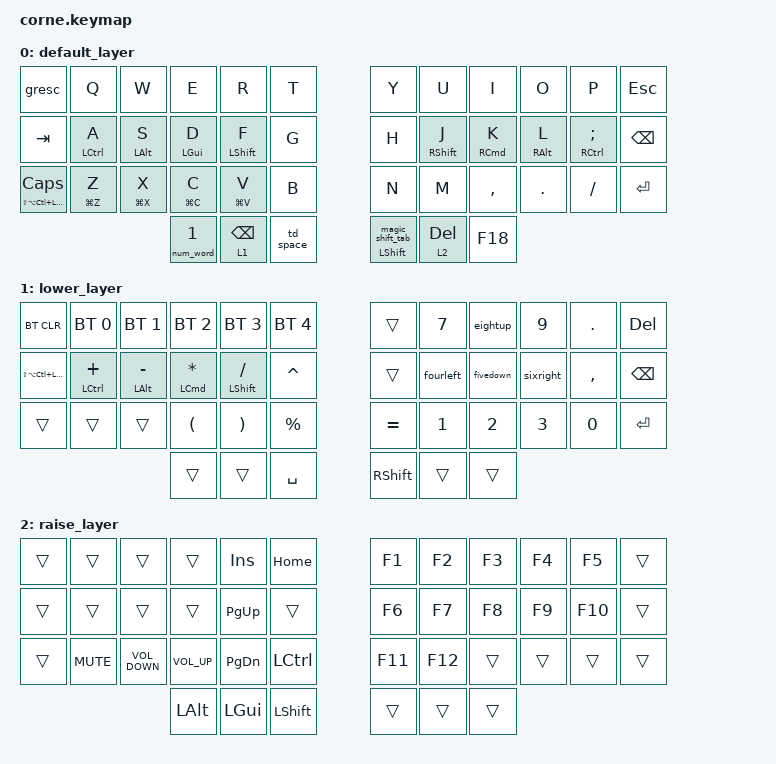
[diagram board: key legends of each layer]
/*
 * Copyright (c) 2020 The ZMK Contributors
 *
 * SPDX-License-Identifier: MIT
 */

#include <behaviors/num_word.dtsi>
#include <behaviors.dtsi>
#include <dt-bindings/zmk/bt.h>
#include <dt-bindings/zmk/keys.h>
#include "zmk-helpers/key-labels/42.h"

#define KEYS_L LT0 LT1 LT2 LT3 LT4 LT5 LM0 LM1 LM2 LM3 LM4 LM5 LB0 LB1 LB2 LB3 LB4 LB5 // Left-hand keys.
#define KEYS_R RT0 RT1 RT2 RT3 RT4 RT5 RM0 RM1 RM2 RM3 RM4 RM5 RB0 RB1 RB2 RB3 RB4 RB5 // Right-hand keys.
#define THUMBS LH2 LH1 LH0 RH0 RH1 RH2                                                 // Thumb keys.

/ {
    combos {
        compatible = "zmk,combos";

        exclam {
            bindings = <&kp EXCL>;
            key-positions = <13 1>;
            timeout-ms = <18>;
            layers = <0>;
            require-prior-idle-ms = <150>;
        };

        at {
            bindings = <&kp AT_SIGN>;
            key-positions = <14 2>;
            timeout-ms = <18>;
            layers = <0>;
            require-prior-idle-ms = <150>;
        };

        hash {
            bindings = <&kp HASH>;
            key-positions = <15 3>;
            timeout-ms = <18>;
            layers = <0>;
            require-prior-idle-ms = <150>;
        };

        dllr {
            bindings = <&kp DOLLAR>;
            key-positions = <4 16>;
            timeout-ms = <18>;
            layers = <0>;
            require-prior-idle-ms = <150>;
        };

        prcnt {
            bindings = <&kp PERCENT>;
            key-positions = <5 17>;
            timeout-ms = <18>;
            layers = <0>;
            require-prior-idle-ms = <150>;
        };

        caret {
            bindings = <&kp CARET>;
            key-positions = <18 6>;
            timeout-ms = <30>;
            layers = <0>;
            require-prior-idle-ms = <50>;
        };

        amps {
            bindings = <&kp AMPS>;
            key-positions = <7 19>;
            timeout-ms = <30>;
            layers = <0>;
            require-prior-idle-ms = <50>;
        };

        star {
            bindings = <&kp STAR>;
            key-positions = <8 20>;
            timeout-ms = <30>;
            layers = <0>;
            require-prior-idle-ms = <50>;
        };

        plus {
            bindings = <&kp PLUS>;
            key-positions = <9 21>;
            timeout-ms = <30>;
            layers = <0>;
            require-prior-idle-ms = <50>;
        };

        equal {
            bindings = <&kp EQUAL>;
            key-positions = <22 10>;
            timeout-ms = <30>;
            layers = <0>;
            require-prior-idle-ms = <50>;
        };

        minus {
            bindings = <&kp MINUS>;
            key-positions = <21 33>;
            timeout-ms = <30>;
            layers = <0>;
            require-prior-idle-ms = <50>;
        };

        slash {
            bindings = <&kp SLASH>;
            key-positions = <20 32>;
            timeout-ms = <30>;
            layers = <0>;
            require-prior-idle-ms = <50>;
        };

        pipe {
            bindings = <&kp PIPE>;
            key-positions = <19 31>;
            timeout-ms = <30>;
            layers = <0>;
            require-prior-idle-ms = <50>;
        };

        udscr {
            bindings = <&kp UNDERSCORE>;
            key-positions = <18 30>;
            timeout-ms = <30>;
            layers = <0>;
            require-prior-idle-ms = <50>;
        };

        tilde {
            bindings = <&kp TILDE>;
            key-positions = <17 29>;
            timeout-ms = <18>;
            layers = <0>;
            require-prior-idle-ms = <150>;
        };

        grave {
            bindings = <&kp GRAVE>;
            key-positions = <16 28>;
            timeout-ms = <18>;
            layers = <0>;
            require-prior-idle-ms = <150>;
        };

        bslh {
            bindings = <&kp BSLH>;
            key-positions = <15 27>;
            timeout-ms = <18>;
            layers = <0>;
            require-prior-idle-ms = <150>;
        };

        apos {
            bindings = <&kp APOS>;
            key-positions = <13 25>;
            timeout-ms = <18>;
            layers = <0>;
            require-prior-idle-ms = <150>;
        };

        quote {
            bindings = <&kp DQT>;
            key-positions = <14 26>;
            timeout-ms = <18>;
            layers = <0>;
            require-prior-idle-ms = <150>;
        };

        lbrace {
            bindings = <&kp LEFT_BRACE>;
            key-positions = <13 14>;
            timeout-ms = <18>;
            layers = <0>;
            require-prior-idle-ms = <150>;
        };

        rbrace {
            bindings = <&kp RIGHT_BRACE>;
            key-positions = <14 15>;
            timeout-ms = <18>;
            layers = <0>;
            require-prior-idle-ms = <150>;
        };

        lbrket {
            bindings = <&kp LEFT_BRACKET>;
            key-positions = <15 16>;
            timeout-ms = <18>;
            layers = <0>;
            require-prior-idle-ms = <150>;
        };

        rbrket {
            bindings = <&kp RIGHT_BRACKET>;
            key-positions = <16 17>;
            timeout-ms = <18>;
            layers = <0>;
            require-prior-idle-ms = <150>;
        };

        lpar {
            bindings = <&kp LEFT_PARENTHESIS>;
            key-positions = <18 19>;
            timeout-ms = <30>;
            layers = <0>;
            require-prior-idle-ms = <50>;
        };

        rpar {
            bindings = <&kp RIGHT_PARENTHESIS>;
            key-positions = <19 20>;
            timeout-ms = <30>;
            layers = <0>;
            require-prior-idle-ms = <50>;
        };

        nm_Return {
            bindings = <&kp ENTER>;
            key-positions = <30 31>;
        };

        vb_Return {
            bindings = <&kp ENTER>;
            key-positions = <28 29>;
        };
    };

    macros {
        period_space_shift: period_space_shift {
            compatible = "zmk,behavior-macro";
            label = "period space + sticky shift";
            bindings = <&kp DOT &kp SPACE &sticky_shift LSHFT>;
            #binding-cells = <0>;
        };
    };

    keymap {
        compatible = "zmk,keymap";

        default_layer {
            // -----------------------------------------------------------------------------------------
            // |  TAB |  Q  |  W  |  E  |  R  |  T  |   |  Y  |  U   |  I  |  O  |  P  | BKSP |
            // | CTRL |  A  |  S  |  D  |  F  |  G  |   |  H  |  J   |  K  |  L  |  ;  |  '   |
            // | SHFT |  Z  |  X  |  C  |  V  |  B  |   |  N  |  M   |  ,  |  .  |  /  | ESC  |
            //                    | GUI | LWR | SPC |   | ENT | RSE  | ALT |

            bindings = <
&gresc                     &kp Q               &kp W               &kp E               &kp R               &kp T        &kp Y                 &kp U              &kp I        &kp O        &kp P            &kp ESC
&kp TAB                    &hml LCTRL A        &hml LALT S         &hml LGUI D         &hmShiftL LSHFT F   &kp G        &kp H                 &hmShiftR RSHFT J  &hmr RCMD K  &hmr RALT L  &hmr RCTRL SEMI  &kp BACKSPACE
&mt LS(LA(LC(LGUI))) CAPS  &longPress LG(Z) Z  &longPress LG(X) X  &longPress LG(C) C  &longPress LG(V) V  &kp B        &kp N                 &kp M              &kp COMMA    &kp DOT      &kp FSLH         &kp ENTER
                                                                   &num_word 1         &lt 1 BACKSPACE     &td_space    &magic_thumb LSHFT 0  &lt 2 DEL          &kp F18
            >;
        };

        lower_layer {
            // -----------------------------------------------------------------------------------------
            // |  TAB |  1  |  2  |  3  |  4  |  5  |   |  6  |  7  |  8  |  9  |  0  | BKSP |
            // | BTCLR| BT1 | BT2 | BT3 | BT4 | BT5 |   | LFT | DWN |  UP | RGT |     |      |
            // | SHFT |     |     |     |     |     |   |     |     |     |     |     |      |
            //                    | GUI |     | SPC |   | ENT |     | ALT |

            bindings = <
&bt BT_CLR            &bt BT_SEL 0     &bt BT_SEL 1     &bt BT_SEL 2          &bt BT_SEL 3           &bt BT_SEL 4    &trans     &kp N7        &eightup      &kp N9        &kp DOT       &kp DELETE
&kp LS(LA(LC(LGUI)))  &hml LCTRL PLUS  &hml LALT MINUS  &hml LCMD ASTRK       &hml LSHFT SLASH       &kp CARET       &trans     &fourleft     &fivedown     &sixright     &kp COMMA     &kp BACKSPACE
&trans                &trans           &trans           &kp LEFT_PARENTHESIS  &kp RIGHT_PARENTHESIS  &kp PERCENT     &kp EQUAL  &kp NUMBER_1  &kp NUMBER_2  &kp NUMBER_3  &kp NUMBER_0  &kp RET
                                                        &trans                &trans                 &kp SPACE       &kp RSHFT  &trans        &trans
            >;
        };

        raise_layer {
            // -----------------------------------------------------------------------------------------
            // |  TAB |  !  |  @  |  #  |  $  |  %  |   |  ^  |  &  |  *  |  (  |  )  | BKSP |
            // | CTRL |     |     |     |     |     |   |  -  |  =  |  [  |  ]  |  \  |  `   |
            // | SHFT |     |     |     |     |     |   |  _  |  +  |  {  |  }  | "|" |  ~   |
            //                    | GUI |     | SPC |   | ENT |     | ALT |

            bindings = <
&trans  &trans      &trans             &trans           &kp INSERT     &kp HOME            &kp F1   &kp F2   &kp F3  &kp F4  &kp F5   &trans
&trans  &trans      &trans             &trans           &kp PAGE_UP    &trans              &kp F6   &kp F7   &kp F8  &kp F9  &kp F10  &trans
&trans  &kp K_MUTE  &kp C_VOLUME_DOWN  &kp C_VOLUME_UP  &kp PAGE_DOWN  &kp LEFT_CONTROL    &kp F11  &kp F12  &trans  &trans  &trans   &trans
                                       &kp LEFT_ALT     &kp LGUI       &kp LSHFT           &trans   &trans   &trans
            >;
        };
    };
};

/ {
    behaviors {
        hml: home_row_mod_left {
            compatible = "zmk,behavior-hold-tap";
            #binding-cells = <2>;
            flavor = "balanced";
            require-prior-idle-ms = <150>;
            tapping-term-ms = <280>;
            quick-tap-ms = <175>;
            bindings = <&kp>, <&kp>;

            hold-trigger-key-positions = <6 7 8 9 10 11 18 19 20 21 22 23 30 31 32 33 34 35 39 40 41 36 37 38>; // List of keys on the right side of the keyboard
            hold-trigger-on-release;
        };

        hmr: home_row_mod_right {
            compatible = "zmk,behavior-hold-tap";
            #binding-cells = <2>;
            flavor = "balanced";
            require-prior-idle-ms = <150>;
            tapping-term-ms = <280>;
            quick-tap-ms = <175>;
            bindings = <&kp>, <&kp>;

            hold-trigger-key-positions = <0 1 2 3 4 5 12 13 14 15 16 17 24 25 26 27 28 29 36 37 38 39 40 41>; // List of keys on the left side of the keyboard
            hold-trigger-on-release;
        };

        odash: odash {
            compatible = "zmk,behavior-mod-morph";
            label = "ODASH";
            bindings = <&kp O>, <&kp MINUS>;

            #binding-cells = <0>;
            mods = <(MOD_LCTL|MOD_RCTL)>;
        };

        pequal: pequal {
            compatible = "zmk,behavior-mod-morph";
            label = "PEQUAL";
            bindings = <&kp P>, <&kp EQUAL>;

            #binding-cells = <0>;
            mods = <(MOD_LCTL|MOD_RCTL)>;
        };

        eightup: eightup {
            compatible = "zmk,behavior-mod-morph";
            label = "EIGHTUP";
            bindings = <&kp N8>, <&kp UP>;

            #binding-cells = <0>;
            mods = <(MOD_RSFT)>;
        };

        fivedown: fivedown {
            compatible = "zmk,behavior-mod-morph";
            label = "FIVEDOWN";
            bindings = <&kp NUMBER_5>, <&kp DOWN>;

            #binding-cells = <0>;
            mods = <(MOD_RSFT)>;
        };

        fourleft: fourleft {
            compatible = "zmk,behavior-mod-morph";
            label = "FOURLEFT";
            bindings = <&kp NUMBER_4>, <&kp LEFT>;

            #binding-cells = <0>;
            mods = <(MOD_RSFT)>;
        };

        sixright: sixright {
            compatible = "zmk,behavior-mod-morph";
            label = "SIXRIGHT";
            bindings = <&kp NUMBER_6>, <&kp RIGHT>;

            #binding-cells = <0>;
            mods = <(MOD_RSFT)>;
        };
    };
};

// Alt+Tab swapper

/ {
    behaviors {
        swapper: swapper {
            compatible = "zmk,behavior-tri-state";
            #binding-cells = <0>;
            bindings = <&kt LGUI>, <&kp TAB>, <&kt LGUI>;
        };
    };
};

/ {
    behaviors {
        num_word: num_word {
            #binding-cells = <1>;
            compatible = "zmk,behavior-auto-layer";
            continue-list = <BSPC DEL DOT COMMA PLUS MINUS STAR FSLH EQUAL LEFT_PARENTHESIS RIGHT_PARENTHESIS CARET PERCENT>;
            ignore-numbers;
            ignore-modifiers;
        };
    };
};

/ {
    behaviors {
        tabdel: tabdel {
            compatible = "zmk,behavior-mod-morph";
            label = "TABDEL";
            bindings = <&kp TAB>, <&kp BACKSPACE>;

            #binding-cells = <0>;
            mods = <(MOD_LCTL|MOD_LSFT|MOD_LALT|MOD_LGUI|MOD_RCTL|MOD_RSFT|MOD_RALT|MOD_RGUI)>;
        };

        hmShiftR: hmShiftR {
            compatible = "zmk,behavior-hold-tap";
            label = "HMSHIFTR";
            bindings = <&kp>, <&kp>;

            #binding-cells = <2>;
            tapping-term-ms = <200>;
            hold-while-undecided;
            hold-trigger-on-release;
            hold-trigger-key-positions = <0 1 2 3 4 5 12 13 14 15 16 17 24 25 26 27 28 29 36 37 38>;
        };

        hmShiftL: hmShiftL {
            compatible = "zmk,behavior-hold-tap";
            label = "HMSHIFTL";
            bindings = <&kp>, <&kp>;

            #binding-cells = <2>;
            tapping-term-ms = <200>;
            hold-while-undecided;
            hold-trigger-on-release;
            hold-trigger-key-positions = <6 7 8 9 10 11 18 19 20 21 22 23 30 31 32 33 34 35 39 40 41>;
        };

        longPress: longPress {
            compatible = "zmk,behavior-hold-tap";
            label = "LONGPRESS";
            bindings = <&kp>, <&kp>;

            #binding-cells = <2>;
            tapping-term-ms = <350>;
            flavor = "tap-preferred";
        };

        altTabMod: altTabMod {
            compatible = "zmk,behavior-tap-dance";
            label = "ALTTABMOD";
            #binding-cells = <0>;
            bindings = <&kp LA(TAB)>, <&kp LA(LS(TAB))>;

            tapping-term-ms = <280>;
        };

        altFMod: altFMod {
            compatible = "zmk,behavior-tap-dance";
            label = "ALTFMOD";
            #binding-cells = <0>;
            bindings = <&kp LA(F)>, <&kp LS(LA(F))>;

            tapping-term-ms = <280>;
        };

        altCMod: altCMod {
            compatible = "zmk,behavior-tap-dance";
            label = "ALTCMOD";
            #binding-cells = <0>;
            bindings = <&kp LA(C)>, <&kp LA(LS(C))>;

            tapping-term-ms = <280>;
        };

        altRMod: altRMod {
            compatible = "zmk,behavior-tap-dance";
            label = "ALTRMOD";
            #binding-cells = <0>;
            bindings = <&kp LA(N4)>, <&kp LA(LS(R))>;

            tapping-term-ms = <280>;
        };

        altTMod: altTMod {
            compatible = "zmk,behavior-tap-dance";
            label = "ALTTMOD";
            #binding-cells = <0>;
            bindings = <&kp LA(N5)>, <&kp LA(T)>;

            tapping-term-ms = <280>;
        };

        altIMod: altIMod {
            compatible = "zmk,behavior-tap-dance";
            label = "ALTIMOD";
            #binding-cells = <0>;
            bindings = <&kp LA(N8)>, <&kp LA(I)>;

            tapping-term-ms = <280>;
        };

        altOMod: altOMod {
            compatible = "zmk,behavior-tap-dance";
            label = "ALTOMOD";
            #binding-cells = <0>;
            bindings = <&kp LA(N9)>, <&kp LA(O)>;

            tapping-term-ms = <280>;
        };

        altWMod: altWMod {
            compatible = "zmk,behavior-tap-dance";
            label = "ALTWMOD";
            #binding-cells = <0>;
            bindings = <&kp LA(NUMBER_2)>, <&kp LA(W)>;

            tapping-term-ms = <280>;
        };

        altQMod: altQMod {
            compatible = "zmk,behavior-tap-dance";
            label = "ALTQMOD";
            #binding-cells = <0>;
            bindings = <&kp LA(NUMBER_1)>, <&kp LA(Q)>;

            tapping-term-ms = <280>;
        };

        altHMod: altHMod {
            compatible = "zmk,behavior-tap-dance";
            label = "ALTHMOD";
            #binding-cells = <0>;
            bindings = <&kp LA(H)>, <&kp LA(LS(H))>;

            tapping-term-ms = <280>;
        };

        altJMod: altJMod {
            compatible = "zmk,behavior-tap-dance";
            label = "ALTJMOD";
            #binding-cells = <0>;
            bindings = <&kp LA(J)>, <&kp LA(LS(J))>;

            tapping-term-ms = <280>;
        };

        altKMod: altKMod {
            compatible = "zmk,behavior-tap-dance";
            label = "ALTKMOD";
            #binding-cells = <0>;
            bindings = <&kp LA(K)>, <&kp LA(LS(K))>;

            tapping-term-ms = <280>;
        };

        altLMod: altLMod {
            compatible = "zmk,behavior-tap-dance";
            label = "ALTLMOD";
            #binding-cells = <0>;
            bindings = <&kp LA(L)>, <&kp LA(LS(L))>;

            tapping-term-ms = <280>;
        };

        shift_repeat: shift_repeat {
            compatible = "zmk,behavior-adaptive-key";
            #binding-cells = <0>;
            bindings = <&sk LSHFT>;

            repeat {
                trigger-keys = <A B C D E F G H I J K L M N O P Q R S T U V W X Y Z>;
                bindings = <&key_repeat>;
                max-prior-idle-ms = <1200>;
                strict-modifiers;
            };
        };

        magic_thumb: magic_thumb {
            compatible = "zmk,behavior-hold-tap";
            label = "MAGIC_THUMB";
            bindings = <&kp>, <&magic_shift_tab>;

            #binding-cells = <2>;
            tapping-term-ms = <200>;
            flavor = "balanced";
            quick-tap-ms = <175>;
        };

        magic_shift_tab: magic_shift_tab {
            compatible = "zmk,behavior-mod-morph";
            label = "MAGIC_SHIFT_TAB";
            bindings = <&shift_repeat>, <&caps_word>;

            #binding-cells = <0>;
            mods = <(MOD_LSFT)>;
        };

        n1bt0: n1bt0 {
            compatible = "zmk,behavior-tap-dance";
            label = "N1BT0";
            #binding-cells = <0>;
            bindings = <&kp LA(N1)>, <&bt BT_SEL 0>;

            tapping-term-ms = <280>;
        };

        altEMod: altEMod {
            compatible = "zmk,behavior-tap-dance";
            label = "ALTEMOD";
            #binding-cells = <0>;
            bindings = <&kp LA(NUMBER_3)>, <&kp LA(E)>;

            tapping-term-ms = <280>;
        };

        n2bt1: n2bt1 {
            compatible = "zmk,behavior-tap-dance";
            label = "N2BT1";
            #binding-cells = <0>;
            bindings = <&kp LA(NUMBER_2)>, <&bt BT_SEL 1>;

            tapping-term-ms = <280>;
        };

        n3bt2: n3bt2 {
            compatible = "zmk,behavior-tap-dance";
            label = "N3BT2";
            #binding-cells = <0>;
            bindings = <&kp LA(NUMBER_3)>, <&bt BT_SEL 2>;

            tapping-term-ms = <280>;
        };

        n4bt3: n4bt3 {
            compatible = "zmk,behavior-tap-dance";
            label = "N4BT3";
            #binding-cells = <0>;
            bindings = <&kp LA(NUMBER_4)>, <&bt BT_SEL 3>;

            tapping-term-ms = <280>;
        };

        n5bt4: n5bt4 {
            compatible = "zmk,behavior-tap-dance";
            label = "N5BT4";
            #binding-cells = <0>;
            bindings = <&kp LA(N5)>, <&bt BT_SEL 4>;

            tapping-term-ms = <280>;
        };

        sticky_shift: sticky_shift {
            compatible = "zmk,behavior-sticky-key";
            label = "STICKY_SHIFT";
            bindings = <&kp>;
            #binding-cells = <1>;
            release-after-ms = <3000>;
            quick-release;
        };

        td_space: td_space {
            compatible = "zmk,behavior-tap-dance";
            label = "TD_SPACE";
            #binding-cells = <0>;
            bindings = <&kp SPACE>, <&period_space_shift>;

            tapping-term-ms = <220>;
        };
    };
};
